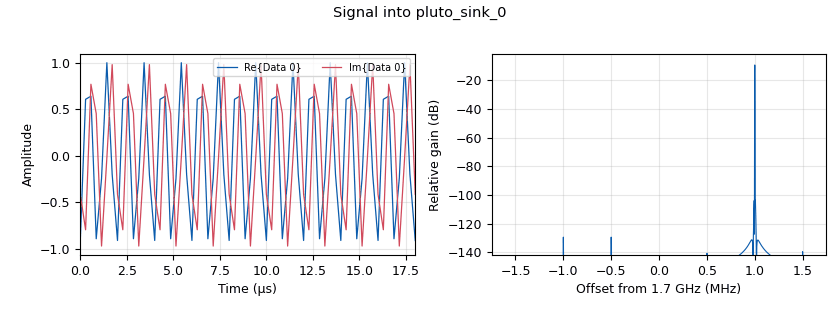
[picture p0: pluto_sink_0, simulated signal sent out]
<?xml version='1.0' encoding='utf-8'?>
<?grc format='1' created='3.7.11'?>
<flow_graph>
<block>
<key>options</key>
<param><key>id</key><value>top_block</value></param>
<param><key>generate_options</key><value>qt_gui</value></param>
</block>
<block>
<key>variable</key>
<param><key>id</key><value>samp_rate</value></param>
<param><key>value</key><value>3500000</value></param>
</block>
<block>
<key>analog_sig_source_x</key>
<param><key>id</key><value>analog_sig_source_x_0</value></param>
<param><key>amp</key><value>0.01</value></param>
<param><key>freq</key><value>1000000</value></param>
<param><key>offset</key><value>0</value></param>
<param><key>type</key><value>complex</value></param>
<param><key>samp_rate</key><value>samp_rate</value></param>
<param><key>waveform</key><value>analog.GR_COS_WAVE</value></param>
</block>
<block>
<key>blocks_multiply_const_vxx</key>
<param><key>id</key><value>blocks_multiply_const_vxx_0</value></param>
<param><key>const</key><value>100</value></param>
<param><key>type</key><value>complex</value></param>
</block>
<block>
<key>pluto_sink</key>
<param><key>id</key><value>pluto_sink_0</value></param>
<param><key>attenuation</key><value>-20</value></param>
<param><key>buffer_size</key><value>0x8000</value></param>
<param><key>cyclic</key><value>False</value></param>
<param><key>auto_filter</key><value>True</value></param>
<param><key>filter</key><value></value></param>
<param><key>uri</key><value>"192.168.2.1"</value></param>
<param><key>frequency</key><value>1700000000</value></param>
<param><key>bandwidth</key><value>samp_rate</value></param>
<param><key>samplerate</key><value>samp_rate</value></param>
</block>
<block>
<key>pluto_source</key>
<param><key>id</key><value>pluto_source_0</value></param>
<param><key>bbdc</key><value>True</value></param>
<param><key>buffer_size</key><value>0x8000</value></param>
<param><key>uri</key><value>"192.168.3.2"</value></param>
<param><key>auto_filter</key><value>True</value></param>
<param><key>filter</key><value></value></param>
<param><key>gain</key><value>"manual"</value></param>
<param><key>frequency</key><value>1700000000</value></param>
<param><key>manual_gain</key><value>64</value></param>
<param><key>quadrature</key><value>True</value></param>
<param><key>rfdc</key><value>True</value></param>
<param><key>bandwidth</key><value>samp_rate</value></param>
<param><key>samplerate</key><value>samp_rate</value></param>
</block>
<block>
<key>qtgui_freq_sink_x</key>
<param><key>id</key><value>qtgui_freq_sink_x_0</value></param>
<param><key>bw</key><value>samp_rate</value></param>
<param><key>fc</key><value>0</value></param>
<param><key>fftsize</key><value>64</value></param>
<param><key>showports</key><value>True</value></param>
<param><key>type</key><value>complex</value></param>
<param><key>wintype</key><value>firdes.WIN_HAMMING</value></param>
<param><key>ymax</key><value>0</value></param>
<param><key>ymin</key><value>-110</value></param>
</block>
<block>
<key>qtgui_time_sink_x</key>
<param><key>id</key><value>qtgui_time_sink_x_0</value></param>
<param><key>color1</key><value>"blue"</value></param>
<param><key>label1</key><value></value></param>
<param><key>color2</key><value>"red"</value></param>
<param><key>label2</key><value></value></param>
<param><key>size</key><value>1000</value></param>
<param><key>srate</key><value>samp_rate</value></param>
<param><key>type</key><value>complex</value></param>
<param><key>ymax</key><value>2</value></param>
<param><key>ymin</key><value>-2</value></param>
</block>
<connection><source_block_id>analog_sig_source_x_0</source_block_id><sink_block_id>blocks_multiply_const_vxx_0</sink_block_id><source_key>0</source_key><sink_key>0</sink_key></connection>
<connection><source_block_id>blocks_multiply_const_vxx_0</source_block_id><sink_block_id>pluto_sink_0</sink_block_id><source_key>0</source_key><sink_key>0</sink_key></connection>
<connection><source_block_id>pluto_source_0</source_block_id><sink_block_id>qtgui_freq_sink_x_0</sink_block_id><source_key>0</source_key><sink_key>0</sink_key></connection>
<connection><source_block_id>pluto_source_0</source_block_id><sink_block_id>qtgui_time_sink_x_0</sink_block_id><source_key>0</source_key><sink_key>0</sink_key></connection>
</flow_graph>
